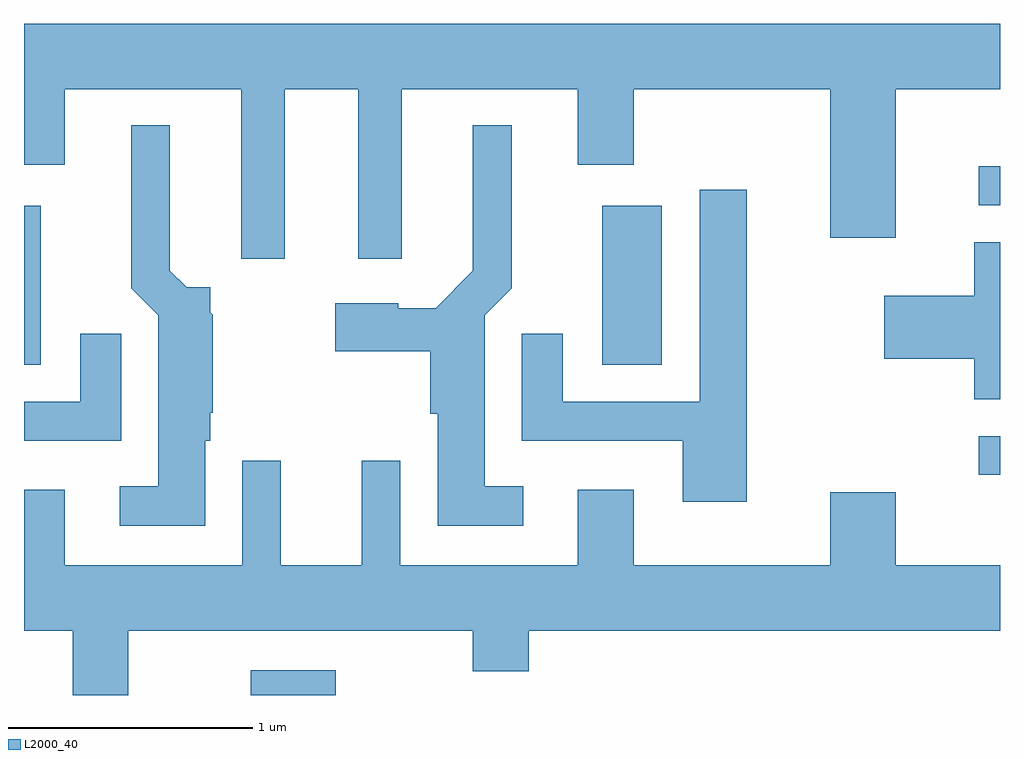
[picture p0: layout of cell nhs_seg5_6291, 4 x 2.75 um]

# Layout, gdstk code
import gdstk
lib = gdstk.Library(unit=1e-6, precision=1e-09)
def R(c, l, rs):  # rectangles x0, y0, x1, y1
    for r in rs: c.add(gdstk.rectangle(r[:2], r[2:], *l))
def P(c, l, *ps):  # polygons
    for p in ps: c.add(gdstk.Polygon(p, *l))
L2000_40 = (2000, 40)

nhs_seg5_6291 = lib.new_cell('nhs_seg5_6291')
R(nhs_seg5_6291, L2000_40, [(372.541,1472.072,372.888,1472.174), (375.523,1472.976,375.611,1473.134), (371.611,1473.426,371.679,1474.079), (373.981,1473.426,374.224,1474.079), (375.523,1474.081,375.611,1474.239)])
P(nhs_seg5_6291, L2000_40, [(372.679,1474.556),(372.981,1474.556),(372.981,1473.861),(373.159,1473.861),(373.159,1474.556),(373.881,1474.556),(373.881,1474.246),(374.109,1474.246),(374.109,1474.556),(374.916,1474.556),(374.916,1473.946),(375.184,1473.946),(375.184,1474.556),(375.611,1474.556),(375.611,1474.824),(371.611,1474.824),(371.611,1474.246),(371.779,1474.246),(371.779,1474.556),(372.501,1474.556),(372.501,1473.861),(372.679,1473.861)],
  [(372.354,1473.116),(372.374,1473.116),(372.374,1473.23),(372.384,1473.23),(372.384,1473.631),(372.374,1473.641),(372.374,1473.744),(372.277,1473.744),(372.209,1473.812),(372.209,1474.408),(372.051,1474.408),(372.051,1473.739),(372.161,1473.629),(372.161,1472.929),(372.003,1472.929),(372.003,1472.766),(372.354,1472.766)],
  [(373.658,1472.929),(373.499,1472.929),(373.499,1473.629),(373.609,1473.739),(373.609,1474.408),(373.451,1474.408),(373.451,1473.812),(373.299,1473.659),(373.144,1473.659),(373.144,1473.679),(372.886,1473.679),(372.886,1473.481),(373.276,1473.481),(373.276,1473.226),(373.306,1473.226),(373.306,1472.766),(373.658,1472.766)],
  [(374.574,1474.144),(374.381,1474.144),(374.381,1473.274),(373.819,1473.274),(373.819,1473.553),(373.651,1473.553),(373.651,1473.116),(374.311,1473.116),(374.311,1472.866),(374.574,1472.866)],
  [(375.611,1473.929),(375.506,1473.929),(375.506,1473.709),(375.136,1473.709),(375.136,1473.451),(375.506,1473.451),(375.506,1473.286),(375.611,1473.286)],
  [(372.009,1473.553),(371.841,1473.553),(371.841,1473.274),(371.611,1473.274),(371.611,1473.116),(372.009,1473.116)],
  [(372.039,1472.336),(373.451,1472.336),(373.451,1472.171),(373.679,1472.171),(373.679,1472.336),(375.611,1472.336),(375.611,1472.604),(375.184,1472.604),(375.184,1472.904),(374.916,1472.904),(374.916,1472.604),(374.109,1472.604),(374.109,1472.914),(373.881,1472.914),(373.881,1472.604),(373.154,1472.604),(373.154,1473.033),(372.996,1473.033),(372.996,1472.604),(372.664,1472.604),(372.664,1473.033),(372.506,1473.033),(372.506,1472.604),(371.779,1472.604),(371.779,1472.914),(371.611,1472.914),(371.611,1472.336),(371.811,1472.336),(371.811,1472.072),(372.039,1472.072)])

lib.write_gds('nhs_seg5_6291.gds')
